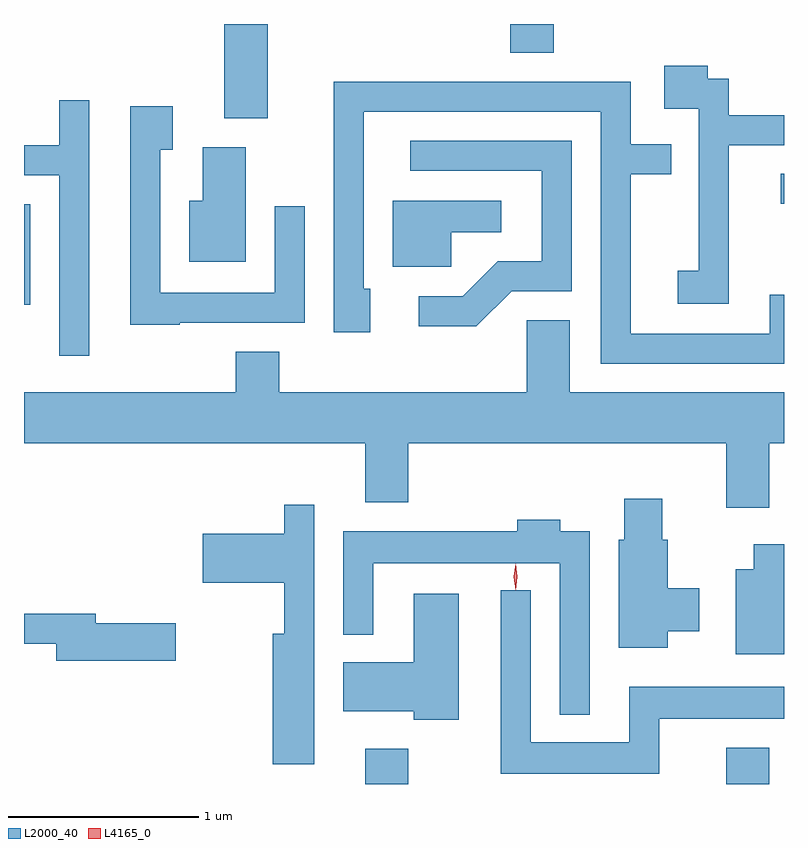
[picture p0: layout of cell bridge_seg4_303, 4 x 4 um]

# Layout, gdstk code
import gdstk
lib = gdstk.Library(unit=1e-6, precision=1e-09)
def R(c, l, rs):  # rectangles x0, y0, x1, y1
    for r in rs: c.add(gdstk.rectangle(r[:2], r[2:], *l))
def P(c, l, *ps):  # polygons
    for p in ps: c.add(gdstk.Polygon(p, *l))
L2000_40 = (2000, 40)
L4165_0 = (4165, 0)

bridge_seg4_303 = lib.new_cell('bridge_seg4_303')
R(bridge_seg4_303, L2000_40, [(551.741,1292.943,551.969,1293.129), (553.641,1292.943,553.869,1293.134), (549.946,1295.466,549.979,1295.994), (553.928,1295.996,553.946,1296.154), (551.001,1296.446,551.229,1296.943), (552.506,1296.791,552.734,1296.943)])
P(bridge_seg4_303, L2000_40, [(553.654,1296.306),(553.946,1296.306),(553.946,1296.464),(553.654,1296.464),(553.654,1296.654),(553.544,1296.654),(553.544,1296.724),(553.316,1296.724),(553.316,1296.496),(553.496,1296.496),(553.496,1295.644),(553.386,1295.644),(553.386,1295.471),(553.654,1295.471)],
  [(553.946,1295.519),(553.871,1295.519),(553.871,1295.314),(553.139,1295.314),(553.139,1296.151),(553.353,1296.151),(553.353,1296.309),(553.139,1296.309),(553.139,1296.639),(551.576,1296.639),(551.576,1295.321),(551.769,1295.321),(551.769,1295.549),(551.734,1295.549),(551.734,1296.481),(552.981,1296.481),(552.981,1295.156),(553.946,1295.156)],
  [(550.289,1296.543),(550.131,1296.543),(550.131,1296.304),(549.946,1296.304),(549.946,1296.146),(550.131,1296.146),(550.131,1295.198),(550.289,1295.198)],
  [(550.765,1295.371),(551.424,1295.371),(551.424,1295.983),(551.266,1295.983),(551.266,1295.529),(550.664,1295.529),(550.664,1296.281),(550.729,1296.281),(550.729,1296.509),(550.506,1296.509),(550.506,1295.361),(550.765,1295.361)],
  [(552.512,1295.536),(552.829,1295.536),(552.829,1296.329),(551.978,1296.329),(551.978,1296.171),(552.671,1296.171),(552.671,1295.694),(552.439,1295.694),(552.254,1295.509),(552.023,1295.509),(552.023,1295.351),(552.327,1295.351)],
  [(551.114,1296.294),(550.886,1296.294),(550.886,1296.014),(550.816,1296.014),(550.816,1295.691),(551.114,1295.691)],
  [(552.194,1295.846),(552.458,1295.846),(552.458,1296.014),(551.886,1296.014),(551.886,1295.666),(552.194,1295.666)],
  [(553.869,1294.736),(553.946,1294.736),(553.946,1295.004),(552.819,1295.004),(552.819,1295.384),(552.591,1295.384),(552.591,1295.004),(551.289,1295.004),(551.289,1295.219),(551.061,1295.219),(551.061,1295.004),(549.946,1295.004),(549.946,1294.736),(551.741,1294.736),(551.741,1294.426),(551.969,1294.426),(551.969,1294.736),(553.641,1294.736),(553.641,1294.396),(553.869,1294.396)],
  [(553.334,1293.746),(553.499,1293.746),(553.499,1293.974),(553.334,1293.974),(553.334,1294.229),(553.304,1294.229),(553.304,1294.444),(553.106,1294.444),(553.106,1294.229),(553.076,1294.229),(553.076,1293.661),(553.334,1293.661)],
  [(551.474,1294.413),(551.316,1294.413),(551.316,1294.259),(550.886,1294.259),(550.886,1294.001),(551.316,1294.001),(551.316,1293.734),(551.256,1293.734),(551.256,1293.046),(551.474,1293.046)],
  [(552.924,1294.274),(552.769,1294.274),(552.769,1294.334),(552.541,1294.334),(552.541,1294.274),(551.626,1294.274),(551.626,1293.728),(551.784,1293.728),(551.784,1294.106),(552.766,1294.106),(552.766,1293.308),(552.924,1293.308)],
  [(553.946,1294.204),(553.786,1294.204),(553.786,1294.074),(553.691,1294.074),(553.691,1293.626),(553.946,1293.626)],
  [(553.289,1293.286),(553.946,1293.286),(553.946,1293.454),(553.131,1293.454),(553.131,1293.164),(552.614,1293.164),(552.614,1293.963),(552.456,1293.963),(552.456,1292.996),(553.289,1292.996)],
  [(552.234,1293.944),(551.996,1293.944),(551.996,1293.584),(551.626,1293.584),(551.626,1293.326),(551.996,1293.326),(551.996,1293.281),(552.234,1293.281)],
  [(550.744,1293.789),(550.324,1293.789),(550.324,1293.839),(549.946,1293.839),(549.946,1293.681),(550.116,1293.681),(550.116,1293.591),(550.744,1293.591)])
P(bridge_seg4_303, L4165_0, [(552.533,1293.964),(552.533,1293.964),(552.523,1294.033),(552.533,1294.102),(552.533,1294.103),(552.534,1294.102),(552.543,1294.033),(552.534,1293.964)])

lib.write_gds('bridge_seg4_303.gds')
